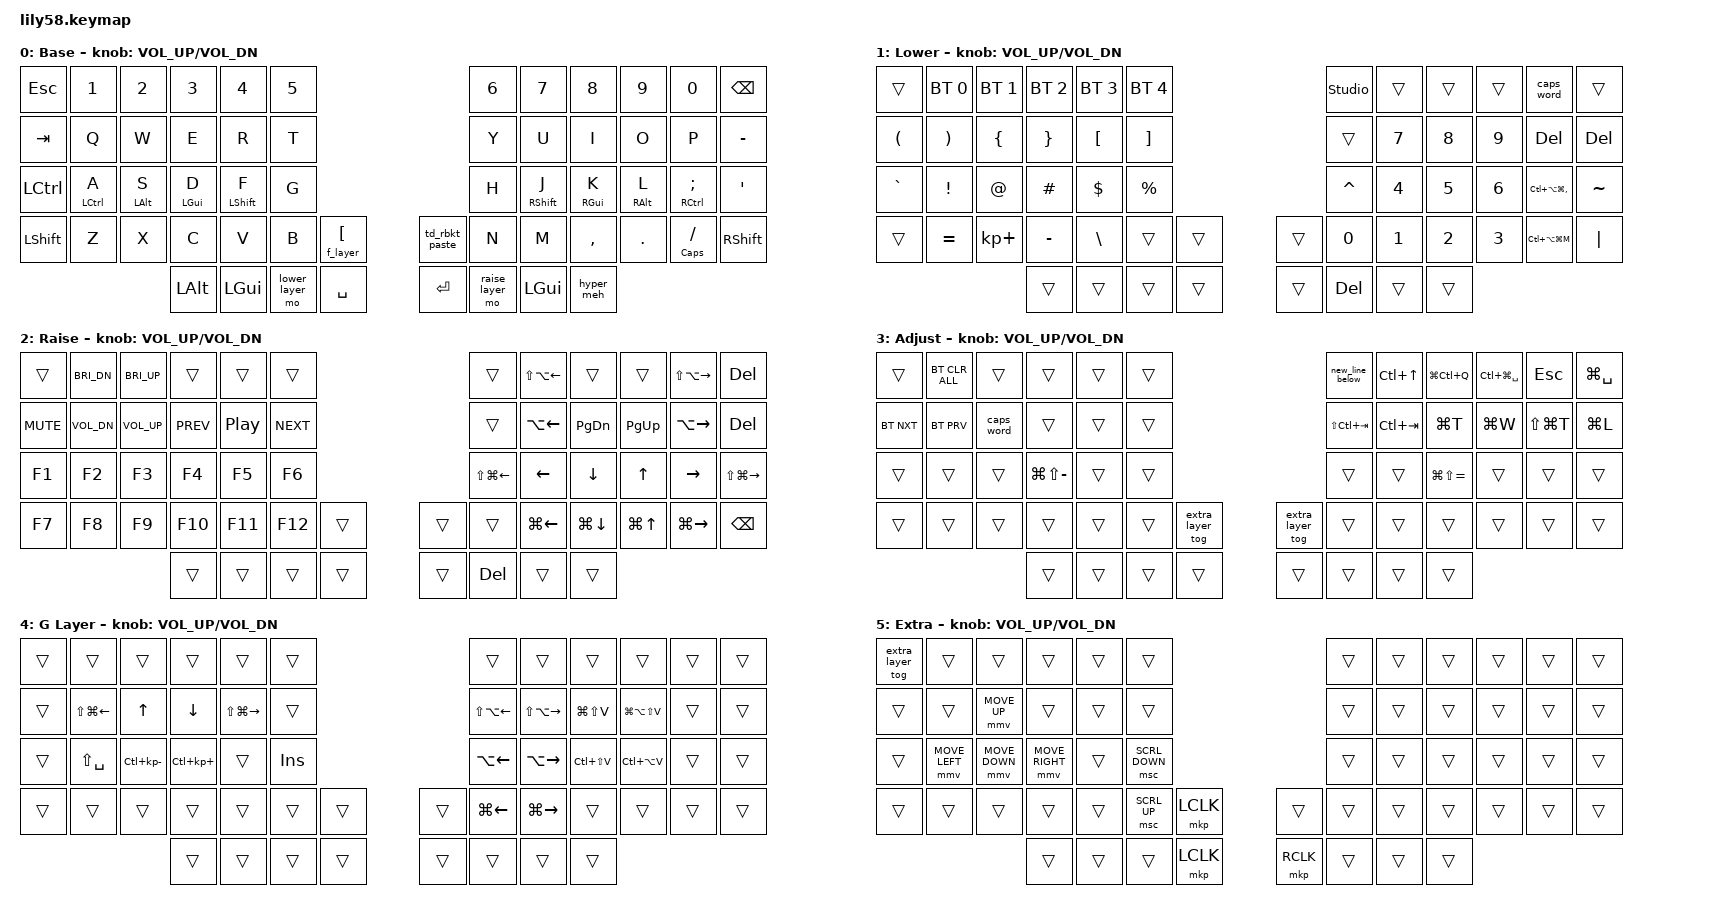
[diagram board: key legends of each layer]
/*
 * Copyright (c) 2020 The ZMK Contributors
 *
 * SPDX-License-Identifier: MIT
 */

#include <behaviors.dtsi>
#include <dt-bindings/zmk/bt.h>
#include <dt-bindings/zmk/ext_power.h>
#include <dt-bindings/zmk/keys.h>
#include <dt-bindings/zmk/pointing.h>

#define default_layer 0
#define lower_layer 1
#define raise_layer 2
#define adjust_layer 3
#define f_layer 4
#define extra_layer 5

/ {
    behaviors {
        td_lbkt_copy: tap_dance_lbkt_copy {
            compatible = "zmk,behavior-tap-dance";
            #binding-cells = <0>;
            tapping-term-ms = <200>;
            bindings = <&kp LBKT>, <&kp LG(C)>;
        };

        td_rbkt_paste: tap_dance_rbkt_paste {
            compatible = "zmk,behavior-tap-dance";
            #binding-cells = <0>;
            tapping-term-ms = <200>;
            bindings = <&kp RBKT>, <&kp LG(V)>;
        };

        eq_plus: eq_plus {
            compatible = "zmk,behavior-mod-morph";
            #binding-cells = <0>;
            bindings = <&kp EQUAL>, <&kp LS(EQUAL)>;
            mods = <(MOD_LSFT|MOD_RSFT)>;
        };

        new_line_below: new_line_below {
            compatible = "zmk,behavior-macro";
            #binding-cells = <0>;
            bindings = <&kp LG(RIGHT)>, <&kp RET>;
        };

        hrm: hrm {
            compatible = "zmk,behavior-hold-tap";
            #binding-cells = <2>;
            tapping-term-ms = <250>;
            quick-tap-ms = <175>;
            require-prior-idle-ms = <150>;
            flavor = "balanced";
            bindings = <&kp>, <&kp>;
        };

        hyper_meh: hyper_meh {
            compatible = "zmk,behavior-mod-morph";
            #binding-cells = <0>;
            bindings = <&kp LS(LC(LA(LGUI)))>, <&kp LS(LC(LALT))>;
            mods = <(MOD_LSFT|MOD_RSFT)>;
        };

        slash_caps: slash_caps {
            compatible = "zmk,behavior-hold-tap";
            #binding-cells = <2>;
            tapping-term-ms = <200>;
            quick-tap-ms = <175>;
            flavor = "tap-preferred";
            bindings = <&kp>, <&kp>;
        };
    };

    conditional_layers {
        compatible = "zmk,conditional-layers";
        tri_layer {
            if-layers = <lower_layer raise_layer>;
            then-layer = <adjust_layer>;
        };
    };

    keymap {
        compatible = "zmk,keymap";

        default_layer {
            display-name = "Base";

            // ------------------------------------------------------------------------------------------------------------
            // |  ESC  |  1  |  2  |  3   |  4   |  5   |                   |  6   |  7    |  8    |  9   |   0   |   `   |
            // |  TAB  |  Q  |  W  |  E   |  R   |  T   |                   |  Y   |  U    |  I    |  O   |   P   |   -   |
            // |  CTRL |  A  |  S  |  D   |  F   |  G   |                   |  H   |  J    |  K    |  L   |   ;   |   '   |
            // | SHIFT |  Z  |  X  |  C   |  V   |  B   |  [/CPY |  |]/PST  |  N   |  M    |  ,    |  .   |   /   | SHIFT |
            //                     | ALT  | GUI  | LOWER|  SPACE |  | ENTER | BSPC | RAISE | GUI   |

            bindings = <
&kp ESC    &kp N1  &kp N2  &kp N3    &kp N4    &kp N5                                              &kp N6   &kp N7         &kp N8         &kp N9        &kp N0           &kp BSPC
&kp TAB    &kp Q   &kp W   &kp E     &kp R     &kp T                                               &kp Y    &kp U          &kp I          &kp O         &kp P            &kp MINUS
&kp LCTRL  &hrm LCTRL A  &hrm LALT S  &hrm LGUI D  &hrm LSHFT F  &kp G                          &kp H    &hrm RSHFT J   &hrm RGUI K    &hrm RALT L   &hrm RCTRL SEMI  &kp SQT
&kp LSHFT  &kp Z   &kp X   &kp C     &kp V     &kp B            &lt f_layer LBKT  &td_rbkt_paste  &kp N    &kp M          &kp COMMA      &kp DOT       &slash_caps CAPS FSLH   &kp RSHFT
                            &kp LALT  &kp LGUI  &mo lower_layer  &kp SPACE      &kp RET            &mo raise_layer  &kp LGUI  &hyper_meh
            >;

            sensor-bindings = <&inc_dec_kp C_VOL_UP C_VOL_DN>;
        };

        lower_layer {
            display-name = "Lower";

            // ------------------------------------------------------------------------------------------------------------
            // | BTCLR | BT1 | BT2 |  BT3 |  BT4 |  BT5 |                   |UNLCK |       |       |      | CAPS  |  INS  |
            // |   (   |  )  |  {  |  }   |  [   |  ]   |                   |  F7  |   7   |   8   |   9  |  F11  |  F12  |
            // |   `   |  !  |  @  |  #   |  $   |  %   |                   |  ^   |   4   |   5   |  6   |⌃⌥⌘, |   ~   |
            // |       |  =  |  +  |  -   |  \   | ⌥F1  |        |  |        |  0   |   1   |   2   |  3   |⌃⌥⌘M |  "|"  |
            //                     |      |      |      |        |  |        |      |  DEL  |       |

            bindings = <
&trans  &bt BT_SEL 0  &bt BT_SEL 1  &bt BT_SEL 2  &bt BT_SEL 3  &bt BT_SEL 4                    &studio_unlock  &trans   &trans  &trans  &caps_word  &trans
&kp LPAR  &kp RPAR    &kp LBRC      &kp RBRC       &kp LBKT      &kp RBKT                        &trans          &kp N7   &kp N8  &kp N9  &kp DEL     &kp DEL
&kp GRAVE &kp EXCL    &kp AT        &kp HASH       &kp DOLLAR    &kp PRCNT                       &kp CARET       &kp N4   &kp N5  &kp N6  &kp LC(LA(LG(COMMA)))  &kp TILDE
&trans    &kp EQUAL   &kp KP_PLUS   &kp MINUS      &kp BSLH      &trans        &trans    &trans  &kp N0          &kp N1   &kp N2  &kp N3  &kp LC(LA(LG(M)))      &kp PIPE
                                                     &trans             &trans        &trans        &trans    &trans  &kp DEL         &trans     &trans
            >;

            sensor-bindings = <&inc_dec_kp C_VOL_UP C_VOL_DN>;
        };

        raise_layer {
            display-name = "Raise";

            // Navigation cluster (right side) — same column = same direction, further from home = bigger scope:
            // Col:       [outer]   [ ← ]    [ ↓ ]    [ ↑ ]    [ → ]  [edit]
            // ------------------------------------------------------------------------------------------------------------
            // |       | BRI- | BRI+ |      |      |      |                   |       | ⇧⌥←  |       |       | ⇧⌥→  |^SPC  |
            // | MUTE  | VOL- | VOL+ | PREV | PLAY | NEXT |                   |       |  ⌥←  | PGDN  | PGUP  |  ⌥→  |BSPC  |
            // |   F1  |  F2  |  F3  |  F4  |  F5  |  F6  |                   |  ⇧⌘← |   ←  |   ↓   |   ↑   |   →  | ⇧⌘→  |
            // |   F7  |  F8  |  F9  | F10  | F11  | F12  |        |  |       |       |  ⌘←  |  ⌘↓   |  ⌘↑   |  ⌘→  | DEL  |
            //                       |      |      |      |        |  |       |       | DEL  |       |

            bindings = <
&trans      &kp C_BRI_DN  &kp C_BRI_UP  &trans      &trans    &trans                      &trans            &kp LS(LA(LEFT))  &trans       &trans      &kp LS(LA(RIGHT))  &kp DEL
&kp C_MUTE  &kp C_VOL_DN  &kp C_VOL_UP  &kp C_PREV  &kp C_PP  &kp C_NEXT                  &trans            &kp LA(LEFT)      &kp PG_DN    &kp PG_UP   &kp LA(RIGHT)      &kp DEL
&kp F1      &kp F2        &kp F3        &kp F4      &kp F5    &kp F6                      &kp LS(LG(LEFT))  &kp LEFT          &kp DOWN     &kp UP      &kp RIGHT          &kp LS(LG(RIGHT))
&kp F7      &kp F8        &kp F9        &kp F10     &kp F11   &kp F12  &trans    &trans   &trans            &kp LG(LEFT)      &kp LG(DOWN) &kp LG(UP)  &kp LG(RIGHT)      &kp BSPC
                                        &trans      &trans    &trans   &trans    &trans   &kp DEL           &trans            &trans
            >;

            sensor-bindings = <&inc_dec_kp C_VOL_UP C_VOL_DN>;
        };

        adjust_layer {
            display-name = "Adjust";

            // ------------------------------------------------------------------------------------------------------------
            // |       | BTCLR|     |      |      |      |                   | NL↓  | MSCTL | LOCK  | EMOJI |  ESC  | SPOT |
            // | BT_NXT|BT_PRV| CAPS|      |      |      |                   |PTAB  | NTAB  | NEWTB | CLOSE |REOPEN | ADDR |
            // |       |     |     | ZMOUT|      |      |                   |      |       | ZMIN  |       |       |      |
            // |       |     |     |      |      |      |EX ON   |EX OFF |      |       |       |       |       |      |
            //                     |      |      |      |        |  |       |      |       |       |

            bindings = <
&trans     &bt BT_CLR_ALL  &trans      &trans              &trans  &trans                    &new_line_below    &kp LC(UP)        &kp LG(LC(Q))      &kp LC(LG(SPACE))  &kp ESC        &kp LG(SPACE)
&bt BT_NXT &bt BT_PRV      &caps_word  &trans              &trans  &trans                    &kp LS(LC(TAB))    &kp LC(TAB)       &kp LG(T)          &kp LG(W)          &kp LS(LG(T))  &kp LG(L)
&trans     &trans          &trans      &kp LG(LS(MINUS))  &trans  &trans                    &trans             &trans            &kp LG(LS(EQUAL))  &trans             &trans         &trans
&trans     &trans          &trans      &trans              &trans  &trans  &tog extra_layer    &tog extra_layer  &trans             &trans            &trans             &trans             &trans         &trans
                           &trans      &trans              &trans  &trans  &trans    &trans             &trans            &trans
            >;

            sensor-bindings = <&inc_dec_kp C_VOL_UP C_VOL_DN>;
        };

        f_layer {
            display-name = "G Layer";

            // G_layer ported from Toucan — hold F to activate
            // Q-row left:   ⇧⌘←  ↑  ↓  ⇧⌘→
            // Q-row right:  ⇧⌥←  ⇧⌥→  ⌘⇧V(mac plain)  ⌘⌥⇧V(mac match)
            // Home left:    sel-row  del-row  ins-excel  [F=held]  INS
            // Home right:   ⌥←  ⌥→  ⌃⇧V(win plain)  ⌃⌥V(win special)
            // Bot right:    ⌘←  ⌘→

            bindings = <
&trans  &trans              &trans           &trans           &trans              &trans                    &trans            &trans             &trans            &trans              &trans  &trans
&trans  &kp LS(LG(LEFT))   &kp UP           &kp DOWN         &kp LS(LG(RIGHT))   &trans                    &kp LS(LA(LEFT))  &kp LS(LA(RIGHT))  &kp LG(LS(V))     &kp LG(LA(LS(V)))   &trans  &trans
&trans  &kp LS(SPACE)       &kp LC(KP_MINUS) &kp LC(KP_PLUS)  &trans              &kp INS                   &kp LA(LEFT)      &kp LA(RIGHT)      &kp LC(LS(V))     &kp LC(LA(V))       &trans  &trans
&trans  &trans              &trans           &trans           &trans              &trans  &trans   &trans   &kp LG(LEFT)      &kp LG(RIGHT)      &trans            &trans              &trans  &trans
                            &trans           &trans           &trans              &trans  &trans   &trans   &trans            &trans
            >;

            sensor-bindings = <&inc_dec_kp C_VOL_UP C_VOL_DN>;
        };

        extra_layer {
            display-name = "Extra";
            bindings = <
&tog extra_layer  &trans          &trans          &trans           &trans  &trans                                  &trans  &trans  &trans  &trans  &trans  &trans
&trans            &trans          &mmv MOVE_UP    &trans           &trans  &trans                                  &trans  &trans  &trans  &trans  &trans  &trans
&trans  &mmv MOVE_LEFT  &mmv MOVE_DOWN  &mmv MOVE_RIGHT  &trans  &msc SCRL_DOWN                          &trans  &trans  &trans  &trans  &trans  &trans
&trans  &trans          &trans          &trans           &trans  &msc SCRL_UP    &mkp LCLK    &trans     &trans  &trans  &trans  &trans  &trans  &trans
                                        &trans           &trans  &trans          &mkp LCLK    &mkp RCLK  &trans  &trans  &trans
            >;

            sensor-bindings = <&inc_dec_kp C_VOL_UP C_VOL_DN>;
        };
    };
};
